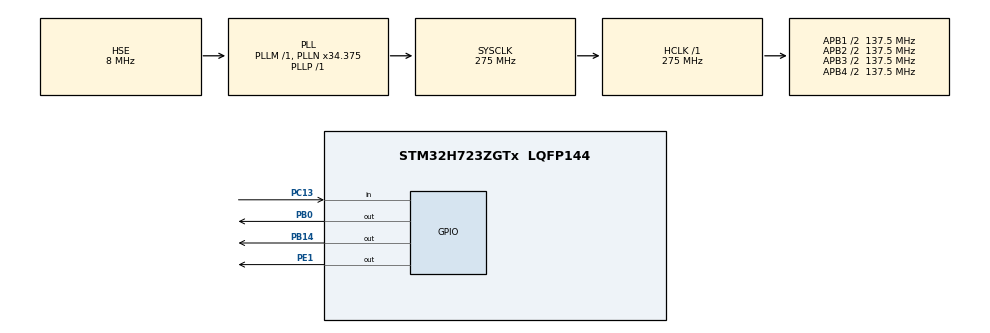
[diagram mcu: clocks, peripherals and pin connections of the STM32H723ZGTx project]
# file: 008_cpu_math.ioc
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CORTEX_M7.default_mode_Activation=1
Mcu.Family=STM32H7
Mcu.Name=STM32H723ZGTx
Mcu.Package=LQFP144
NUCLEO-H723ZG.BUTTON=1
NUCLEO-H723ZG.LD1=true
NUCLEO-H723ZG.LD2=true
NUCLEO-H723ZG.LD3=true
NUCLEO-H723ZG.VCP=true
NVIC.EXTI15_10_IRQn=true\:0\:0\:false\:false\:true\:false\:true\:true
NVIC.PriorityGroup=NVIC_PRIORITYGROUP_4
PA13(JTMS/SWDIO).GPIO_Label=SWDIO
PA13(JTMS/SWDIO).Signal=DEBUG_JTMS-SWDIO
PA14(JTCK/SWCLK).GPIO_Label=SWCLK
PA14(JTCK/SWCLK).Signal=DEBUG_JTCK-SWCLK
PB0.Signal=GPIO_Output
PB14.Signal=GPIO_Output
PC13.Signal=GPIO_Input
PC14-OSC32_IN.Signal=RCC_OSC32_IN
PC15-OSC32_OUT.Signal=RCC_OSC32_OUT
PD8.Signal=USART3_TX
PD9.Signal=USART3_RX
PE1.Signal=GPIO_Output
PH0-OSC_IN.Mode=HSE-External-Oscillator
PH0-OSC_IN.Signal=RCC_OSC_IN
PH1-OSC_OUT.Mode=HSE-External-Oscillator
PH1-OSC_OUT.Signal=RCC_OSC_OUT
ProjectManager.HeapSize=0x200
ProjectManager.StackSize=0x400
ProjectManager.TargetToolchain=STM32CubeIDE
RCC.ADCFreq_Value=76000000
RCC.APB1Freq_Value=137500000
RCC.APB2Freq_Value=137500000
RCC.APB3Freq_Value=137500000
RCC.APB4Freq_Value=137500000
RCC.CortexFreq_Value=275000000
RCC.D1PPRE=RCC_APB3_DIV2
RCC.D2PPRE1=RCC_APB1_DIV2
RCC.D2PPRE2=RCC_APB2_DIV2
RCC.D3PPRE=RCC_APB4_DIV2
RCC.DIVM1=1
RCC.DIVM2=1
RCC.DIVN1=34
RCC.DIVN2=19
RCC.DIVP1=1
RCC.DIVQ1=4
RCC.HCLKFreq_Value=275000000
RCC.HSE_VALUE=8000000
RCC.PLLFRACN=3072
RCC.PLLSourceVirtual=RCC_PLLSOURCE_HSE
RCC.SYSCLKFreq_VALUE=275000000
RCC.SYSCLKSource=RCC_SYSCLKSOURCE_PLLCLK
RCC.USBCLockSelection=RCC_USBCLKSOURCE_HSI48
RCC.USBFreq_Value=48000000
VP_MEMORYMAP_VS_MEMORYMAP.Mode=CurAppReg
VP_NUCLEO-H723ZG_VS_BSP_COMMON.Mode=COMMON
board=NUCLEO-H723ZG

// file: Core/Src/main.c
/* USER CODE BEGIN Header */
/**
  ******************************************************************************
  * @file           : main.c
  * @brief          : Main program body
  ******************************************************************************
  * @attention
  *
  * Copyright (c) 2025 STMicroelectronics.
  * All rights reserved.
  *
  * This software is licensed under terms that can be found in the LICENSE file
  * in the root directory of this software component.
  * If no LICENSE file comes with this software, it is provided AS-IS.
  *
  ******************************************************************************
  */
/* USER CODE END Header */
#include "main.h"

/* USER CODE BEGIN PTD */
void benchmarkTimerInit();
__STATIC_FORCEINLINE uint32_t benchmark_GetCycleCount(void);

void benchmarkTimerInit(){

    CoreDebug->DEMCR |= CoreDebug_DEMCR_TRCENA_Msk;
    DWT->CYCCNT = 0;
    DWT->CTRL |= DWT_CTRL_CYCCNTENA_Msk;

}

 __STATIC_FORCEINLINE uint32_t benchmark_GetCycleCount(void){

    return DWT->CYCCNT;
}
/* USER CODE END PTD */

/* USER CODE BEGIN PD */

/* ---- Fixed-point Q15 definitions ---- */
#define Q_SCALE 15
#define Q_SCALE_FACTOR (1 << Q_SCALE)
#define FLOAT_TO_Q(x) ((int32_t)((x) * Q_SCALE_FACTOR))
#define Q_TO_FLOAT(q) ((float)(q) / Q_SCALE_FACTOR)
#define Q_MUL(a,b) ((int32_t)(((int64_t)(a)*(b)) >> Q_SCALE))
#define Q_ADD(a,b) ((a)+(b))
/* USER CODE END PD */

/* USER CODE BEGIN PM */

/* ---- Benchmark function ---- */
void benchmark(void)
{

    const int N = 1000000; // 1M iteration
    float f_a = 0.75f, f_b = 0.33f, f_c = 0.12f, f_y = 0.0f;
    int32_t q_a = FLOAT_TO_Q(f_a);
    int32_t q_b = FLOAT_TO_Q(f_b);
    int32_t q_c = FLOAT_TO_Q(f_c);
    int32_t q_y = 0;

    /* --- FLOAT BENCHMARK --- */
    benchmarkTimerInit();
    uint32_t start_f = benchmark_GetCycleCount();
    for (int i = 0; i < N; i++) {
        f_y = f_a * f_b + f_c;
    }
    uint32_t end_f = benchmark_GetCycleCount();
    uint32_t cycles_float = end_f - start_f;

    /* --- FIXED BENCHMARK --- */
    benchmarkTimerInit();
    uint32_t start_q = benchmark_GetCycleCount();
    for (int i = 0; i < N; i++) {
        q_y = Q_ADD(Q_MUL(q_a, q_b), q_c);
    }
    uint32_t end_q = benchmark_GetCycleCount();
    uint32_t cycles_fixed = end_q - start_q;
    printf("-------------------------------------------------------------------\r\n");
    /* --- Results --- */
    printf("FLOAT : %lu cycles\r\n", (unsigned long)cycles_float);
    printf("FIXED : %lu cycles\r\n", (unsigned long)cycles_fixed);
    printf("Ratio : %.2fx faster\r\n", (float)cycles_float / (float)cycles_fixed);
    printf("-------------------------------------------------------------------\r\n");
}

/* USER CODE END PM */

COM_InitTypeDef BspCOMInit;

void SystemClock_Config(void);
static void MPU_Config(void);
static void MX_GPIO_Init(void);

int main(void)
{

  /* MPU Configuration--------------------------------------------------------*/
  MPU_Config();

  /* MCU Configuration--------------------------------------------------------*/

  /* Reset of all peripherals, Initializes the Flash interface and the Systick. */
  HAL_Init();

  /* Configure the system clock */
  SystemClock_Config();

  /* Initialize all configured peripherals */
  MX_GPIO_Init();

  /* Initialize leds */
  BSP_LED_Init(LED_GREEN);
  BSP_LED_Init(LED_YELLOW);
  BSP_LED_Init(LED_RED);

  /* Initialize USER push-button, will be used to trigger an interrupt each time it's pressed.*/
  BSP_PB_Init(BUTTON_USER, BUTTON_MODE_EXTI);

  /* Initialize COM1 port (115200, 8 bits (7-bit data + 1 stop bit), no parity */
  BspCOMInit.BaudRate   = 115200;
  BspCOMInit.WordLength = COM_WORDLENGTH_8B;
  BspCOMInit.StopBits   = COM_STOPBITS_1;
  BspCOMInit.Parity     = COM_PARITY_NONE;
  BspCOMInit.HwFlowCtl  = COM_HWCONTROL_NONE;
  if (BSP_COM_Init(COM1, &BspCOMInit) != BSP_ERROR_NONE)
  {
    Error_Handler();
  }

  benchmark();
  printf("------------------------------TEST BITTI-------------------------------------\r\n");
  fflush(stdout);
  /* Infinite loop */
  while (1)
  {

    /* USER CODE BEGIN 3 */

	  HAL_Delay(10000);
	  fflush(stdout);
  }
  /* USER CODE END 3 */
}

void SystemClock_Config(void)
{
  RCC_OscInitTypeDef RCC_OscInitStruct = {0};
  RCC_ClkInitTypeDef RCC_ClkInitStruct = {0};

  /** Supply configuration update enable
  */
  HAL_PWREx_ConfigSupply(PWR_LDO_SUPPLY);

  /** Configure the main internal regulator output voltage
  */
  __HAL_PWR_VOLTAGESCALING_CONFIG(PWR_REGULATOR_VOLTAGE_SCALE0);

  while(!__HAL_PWR_GET_FLAG(PWR_FLAG_VOSRDY)) {}

  /** Initializes the RCC Oscillators according to the specified parameters
  * in the RCC_OscInitTypeDef structure.
  */
  RCC_OscInitStruct.OscillatorType = RCC_OSCILLATORTYPE_HSE;
  RCC_OscInitStruct.HSEState = RCC_HSE_ON;
  RCC_OscInitStruct.PLL.PLLState = RCC_PLL_ON;
  RCC_OscInitStruct.PLL.PLLSource = RCC_PLLSOURCE_HSE;
  RCC_OscInitStruct.PLL.PLLM = 1;
  RCC_OscInitStruct.PLL.PLLN = 34;
  RCC_OscInitStruct.PLL.PLLP = 1;
  RCC_OscInitStruct.PLL.PLLQ = 4;
  RCC_OscInitStruct.PLL.PLLR = 2;
  RCC_OscInitStruct.PLL.PLLRGE = RCC_PLL1VCIRANGE_3;
  RCC_OscInitStruct.PLL.PLLVCOSEL = RCC_PLL1VCOWIDE;
  RCC_OscInitStruct.PLL.PLLFRACN = 3072;
  if (HAL_RCC_OscConfig(&RCC_OscInitStruct) != HAL_OK)
  {
    Error_Handler();
  }

  /** Initializes the CPU, AHB and APB buses clocks
  */
  RCC_ClkInitStruct.ClockType = RCC_CLOCKTYPE_HCLK|RCC_CLOCKTYPE_SYSCLK
                              |RCC_CLOCKTYPE_PCLK1|RCC_CLOCKTYPE_PCLK2
                              |RCC_CLOCKTYPE_D3PCLK1|RCC_CLOCKTYPE_D1PCLK1;
  RCC_ClkInitStruct.SYSCLKSource = RCC_SYSCLKSOURCE_PLLCLK;
  RCC_ClkInitStruct.SYSCLKDivider = RCC_SYSCLK_DIV1;
  RCC_ClkInitStruct.AHBCLKDivider = RCC_HCLK_DIV1;
  RCC_ClkInitStruct.APB3CLKDivider = RCC_APB3_DIV2;
  RCC_ClkInitStruct.APB1CLKDivider = RCC_APB1_DIV2;
  RCC_ClkInitStruct.APB2CLKDivider = RCC_APB2_DIV2;
  RCC_ClkInitStruct.APB4CLKDivider = RCC_APB4_DIV2;

  if (HAL_RCC_ClockConfig(&RCC_ClkInitStruct, FLASH_LATENCY_3) != HAL_OK)
  {
    Error_Handler();
  }
}

static void MX_GPIO_Init(void)
{

  /* GPIO Ports Clock Enable */
  __HAL_RCC_GPIOC_CLK_ENABLE();
  __HAL_RCC_GPIOH_CLK_ENABLE();
  __HAL_RCC_GPIOA_CLK_ENABLE();

}

 /* MPU Configuration */

void MPU_Config(void)
{
  MPU_Region_InitTypeDef MPU_InitStruct = {0};

  /* Disables the MPU */
  HAL_MPU_Disable();

  /** Initializes and configures the Region and the memory to be protected
  */
  MPU_InitStruct.Enable = MPU_REGION_ENABLE;
  MPU_InitStruct.Number = MPU_REGION_NUMBER0;
  MPU_InitStruct.BaseAddress = 0x0;
  MPU_InitStruct.Size = MPU_REGION_SIZE_4GB;
  MPU_InitStruct.SubRegionDisable = 0x87;
  MPU_InitStruct.TypeExtField = MPU_TEX_LEVEL0;
  MPU_InitStruct.AccessPermission = MPU_REGION_NO_ACCESS;
  MPU_InitStruct.DisableExec = MPU_INSTRUCTION_ACCESS_DISABLE;
  MPU_InitStruct.IsShareable = MPU_ACCESS_SHAREABLE;
  MPU_InitStruct.IsCacheable = MPU_ACCESS_NOT_CACHEABLE;
  MPU_InitStruct.IsBufferable = MPU_ACCESS_NOT_BUFFERABLE;

  HAL_MPU_ConfigRegion(&MPU_InitStruct);
  /* Enables the MPU */
  HAL_MPU_Enable(MPU_PRIVILEGED_DEFAULT);

}

void Error_Handler(void)
{
  __disable_irq();
  while (1)
  {
  }
}
